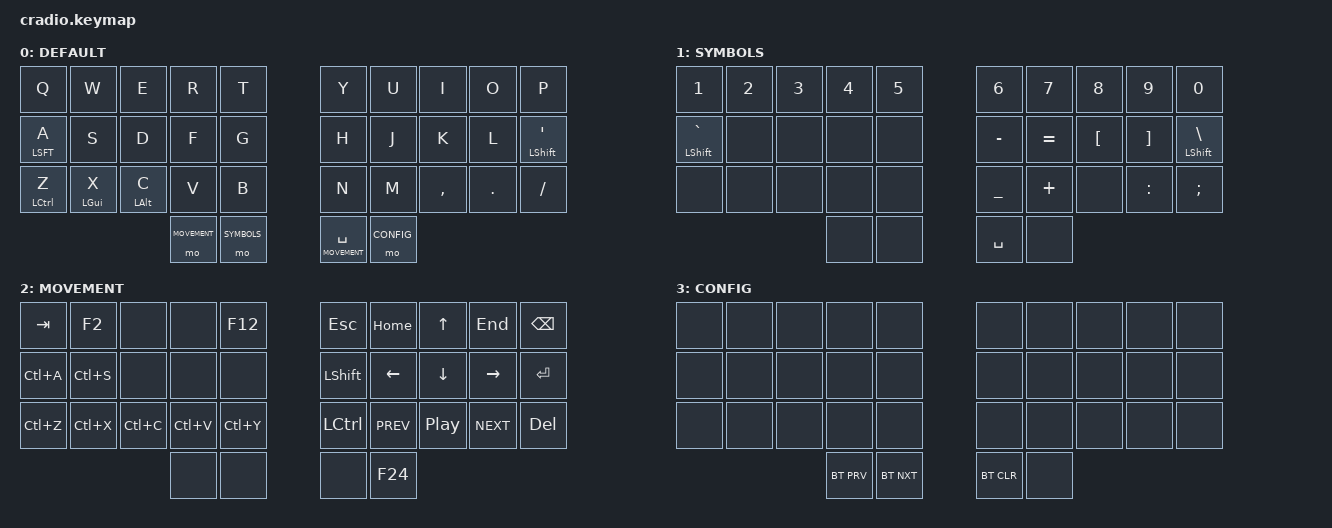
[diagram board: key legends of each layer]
/*
 * Copyright (c) 2020 The ZMK Contributors
 *
 * SPDX-License-Identifier: MIT
 */

#include <behaviors.dtsi>
#include <dt-bindings/zmk/keys.h>
#include <dt-bindings/zmk/bt.h>
#include <dt-bindings/zmk/outputs.h>

#define DEFAULT   0
#define SYMBOLS   1
#define MOVEMENT  2
#define CONFIG    3

&mt {
  flavor = "tap-preferred";
   // tapping_term_ms = <200>;
};

/ { 

    combos {
        compatible = "zmk,combos";
        combo_esc {
            timeout-ms = <50>;
            key-positions = <0 1>;
            bindings = <&kp ESC>;
        };
        
        combo_tab {
            timeout-ms = <50>;
            key-positions = <10 11>;
            bindings = <&kp TAB>;
        };
        
        combo_ralt {
            timeout-ms = <50>;
            key-positions = <17 16>;
            bindings = <&kp RALT>;
        };
        
        combo_lalt {
            timeout-ms = <50>;
            key-positions = <11 12>;
            bindings = <&kp LALT>;
        };
        
        combo_lgui {
            timeout-ms = <50>;
            key-positions = <12 13>;
            bindings = <&kp LGUI>;
        };
        
        
        combo_rgui {
            timeout-ms = <50>;
            key-positions = <17 18>;
            bindings = <&kp RGUI>;
        };
        

        
    };

      keymap {
        compatible = "zmk,keymap";
                
       		DEFAULT {
		        bindings = <
		          &kp Q           &kp W       &kp E       &kp R     &kp T 				  &kp Y     &kp U     &kp I     &kp O   &kp P 
		          &mt LSFT A      &kp S       &kp D       &kp F     &kp G 			    &kp H     &kp J     &kp K     &kp L   &mt LSHFT QUOT
		          &mt LCTRL Z     &mt LGUI X  &mt LALT C  &kp V     &kp B				    &kp N     &kp M     &kp CMMA  &kp DOT &kp SLASH
          				                            &mo MOVEMENT      &mo SYMBOLS			&lt MOVEMENT SPC   &mo CONFIG
            >;
		      };

       		SYMBOLS {
		        bindings = <
		          &kp N1          &kp N2      &kp N3      &kp N4    &kp N5		      &kp N6    &kp N7    &kp N8    &kp N9      &kp N0 
		          &mt LSHFT GRAVE &none       &none       &none     &none 		      &kp MINUS &kp EQL   &kp LBKT  &kp RBKT    &mt LSHFT BSLH 
		          &none           &none 	    &none       &none     &none 	        &kp UNDER &kp PLUS  &none     &kp COLON   &kp SEMICOLON 
					                                            &none     &none 					&kp SPC   &none
		        >;
		      };
		
		      MOVEMENT {
		        bindings = <
		          &kp TAB         &kp F2      &none       &none     &kp F12    			&kp ESC   &kp HOME    &kp UP    &kp END     &kp BACKSPACE 
		          &kp LC(A)       &kp LC(S)   &none       &none     &none 			    &kp LSHFT &kp LEFT    &kp DOWN  &kp RIGHT   &kp ENTER
		          &kp LC(Z)       &kp LC(X)   &kp LC(C)   &kp LC(V) &kp LC(Y)    		&kp LCTRL &kp C_PREV  &kp C_PP  &kp C_NEXT       &kp DEL
					                                            &none     &none  				  &none     &kp F24
		        >;
		      };
        	CONFIG {
		        bindings = <
		          &none   &none   &none   &none   &none    		&none   &none     &none     &none       &none 
		          &none   &none   &none   &none   &none 			&none   &none     &none     &none       &none
		          &none   &none   &none   &none   &none    		&none   &none     &none     &none       &none
					                      &bt BT_PRV &bt BT_NXT      &bt BT_CLR   &none
		        >;
		      };
	};
};
